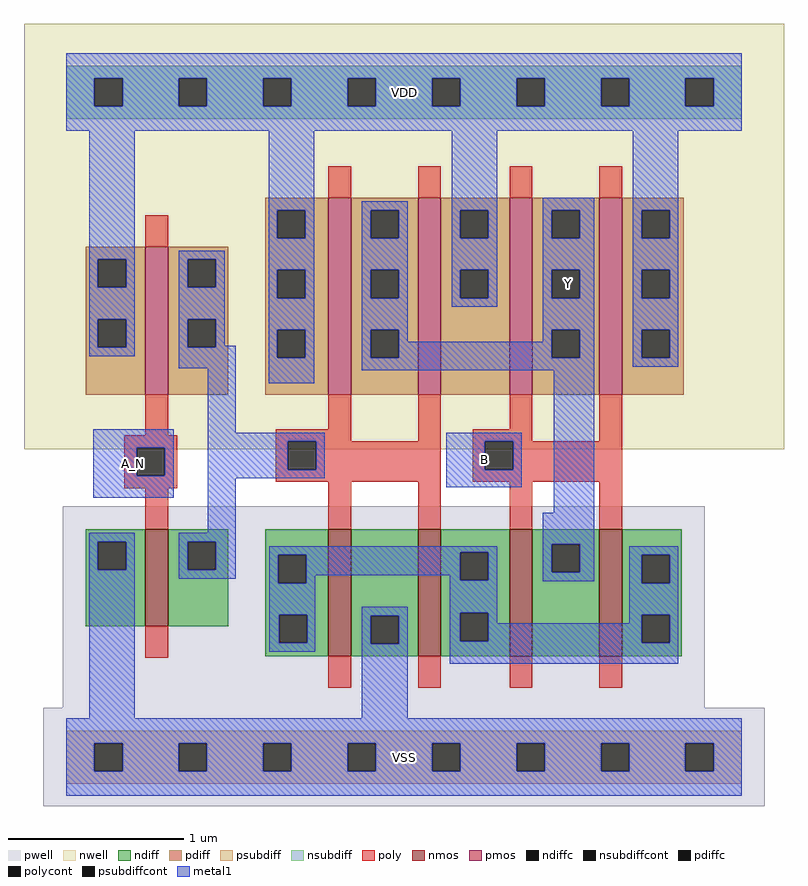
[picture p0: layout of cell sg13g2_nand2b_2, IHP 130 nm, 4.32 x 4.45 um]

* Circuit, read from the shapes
.subckt sg13g2_nand2b_2 A_N Y VDD VSS B
XM1 n1 A_N VSS VSS sg13_lv_nmos w=0.55u l=0.13u
XM2 VSS n1 n2 VSS sg13_lv_nmos w=0.72u l=0.13u m=2
XM3 Y B n2 VSS sg13_lv_nmos w=0.72u l=0.13u m=2
XM4 n1 A_N VDD VDD sg13_lv_pmos w=0.84u l=0.13u
XM5 Y n1 VDD VDD sg13_lv_pmos w=1.12u l=0.13u m=2
XM6 Y B VDD VDD sg13_lv_pmos w=1.12u l=0.13u m=2
.ends

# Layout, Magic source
magic
tech ihp-sg13g2
magscale 1 2
<< nwell >>
rect -48 350 816 834
<< pwell >>
rect -4 56 726 285
rect -26 -56 794 56
<< nmos >>
rect 90 149 116 259
rect 298 115 324 259
rect 400 115 426 259
rect 504 115 530 259
rect 606 115 632 259
<< pmos >>
rect 90 412 116 580
rect 298 412 324 636
rect 400 412 426 636
rect 504 412 530 636
rect 606 412 632 636
<< ndiff >>
rect 22 245 90 259
rect 22 213 36 245
rect 68 213 90 245
rect 22 149 90 213
rect 116 245 184 259
rect 116 213 138 245
rect 170 213 184 245
rect 116 149 184 213
rect 226 230 298 259
rect 226 198 241 230
rect 273 198 298 230
rect 226 162 298 198
rect 226 130 242 162
rect 274 130 298 162
rect 226 115 298 130
rect 324 161 400 259
rect 324 129 346 161
rect 378 129 400 161
rect 324 115 400 129
rect 426 233 504 259
rect 426 201 448 233
rect 480 201 504 233
rect 426 164 504 201
rect 426 132 448 164
rect 480 132 504 164
rect 426 115 504 132
rect 530 242 606 259
rect 530 210 552 242
rect 584 210 606 242
rect 530 115 606 210
rect 632 230 700 259
rect 632 198 654 230
rect 686 198 700 230
rect 632 162 700 198
rect 632 130 654 162
rect 686 130 700 162
rect 632 115 700 130
<< pdiff >>
rect 226 622 298 636
rect 226 590 240 622
rect 272 590 298 622
rect 22 566 90 580
rect 22 534 36 566
rect 68 534 90 566
rect 22 498 90 534
rect 22 466 36 498
rect 68 466 90 498
rect 22 412 90 466
rect 116 566 184 580
rect 116 534 138 566
rect 170 534 184 566
rect 116 498 184 534
rect 116 466 138 498
rect 170 466 184 498
rect 116 412 184 466
rect 226 554 298 590
rect 226 522 240 554
rect 272 522 298 554
rect 226 486 298 522
rect 226 454 240 486
rect 272 454 298 486
rect 226 412 298 454
rect 324 622 400 636
rect 324 590 346 622
rect 378 590 400 622
rect 324 554 400 590
rect 324 522 346 554
rect 378 522 400 554
rect 324 486 400 522
rect 324 454 346 486
rect 378 454 400 486
rect 324 412 400 454
rect 426 622 504 636
rect 426 590 448 622
rect 480 590 504 622
rect 426 554 504 590
rect 426 522 448 554
rect 480 522 504 554
rect 426 412 504 522
rect 530 622 606 636
rect 530 590 552 622
rect 584 590 606 622
rect 530 554 606 590
rect 530 522 552 554
rect 584 522 606 554
rect 530 486 606 522
rect 530 454 552 486
rect 584 454 606 486
rect 530 412 606 454
rect 632 622 702 636
rect 632 590 654 622
rect 686 590 702 622
rect 632 554 702 590
rect 632 522 654 554
rect 686 522 702 554
rect 632 486 702 522
rect 632 454 654 486
rect 686 454 702 486
rect 632 412 702 454
<< ndiffc >>
rect 36 213 68 245
rect 138 213 170 245
rect 241 198 273 230
rect 242 130 274 162
rect 346 129 378 161
rect 448 201 480 233
rect 448 132 480 164
rect 552 210 584 242
rect 654 198 686 230
rect 654 130 686 162
<< pdiffc >>
rect 240 590 272 622
rect 36 534 68 566
rect 36 466 68 498
rect 138 534 170 566
rect 138 466 170 498
rect 240 522 272 554
rect 240 454 272 486
rect 346 590 378 622
rect 346 522 378 554
rect 346 454 378 486
rect 448 590 480 622
rect 448 522 480 554
rect 552 590 584 622
rect 552 522 584 554
rect 552 454 584 486
rect 654 590 686 622
rect 654 522 686 554
rect 654 454 686 486
<< psubdiff >>
rect 0 16 768 30
rect 0 -16 32 16
rect 64 -16 128 16
rect 160 -16 224 16
rect 256 -16 320 16
rect 352 -16 416 16
rect 448 -16 512 16
rect 544 -16 608 16
rect 640 -16 704 16
rect 736 -16 768 16
rect 0 -30 768 -16
<< nsubdiff >>
rect 0 772 768 786
rect 0 740 32 772
rect 64 740 128 772
rect 160 740 224 772
rect 256 740 320 772
rect 352 740 416 772
rect 448 740 512 772
rect 544 740 608 772
rect 640 740 704 772
rect 736 740 768 772
rect 0 726 768 740
<< psubdiffcont >>
rect 32 -16 64 16
rect 128 -16 160 16
rect 224 -16 256 16
rect 320 -16 352 16
rect 416 -16 448 16
rect 512 -16 544 16
rect 608 -16 640 16
rect 704 -16 736 16
<< nsubdiffcont >>
rect 32 740 64 772
rect 128 740 160 772
rect 224 740 256 772
rect 320 740 352 772
rect 416 740 448 772
rect 512 740 544 772
rect 608 740 640 772
rect 704 740 736 772
<< poly >>
rect 298 636 324 672
rect 400 636 426 672
rect 504 636 530 672
rect 606 636 632 672
rect 90 580 116 616
rect 90 366 116 412
rect 298 373 324 412
rect 66 352 126 366
rect 66 320 80 352
rect 112 320 126 352
rect 66 306 126 320
rect 238 359 324 373
rect 400 359 426 412
rect 504 373 530 412
rect 238 327 252 359
rect 284 327 426 359
rect 238 313 426 327
rect 462 359 530 373
rect 606 359 632 412
rect 462 327 476 359
rect 508 327 632 359
rect 462 313 632 327
rect 90 259 116 306
rect 298 259 324 313
rect 400 259 426 313
rect 504 259 530 313
rect 606 259 632 313
rect 90 113 116 149
rect 298 79 324 115
rect 400 79 426 115
rect 504 79 530 115
rect 606 79 632 115
<< polycont >>
rect 80 320 112 352
rect 252 327 284 359
rect 476 327 508 359
<< metal1 >>
rect 0 772 768 800
rect 0 740 32 772
rect 64 740 128 772
rect 160 740 224 772
rect 256 740 320 772
rect 352 740 416 772
rect 448 740 512 772
rect 544 740 608 772
rect 640 740 704 772
rect 736 740 768 772
rect 0 712 768 740
rect 26 566 78 712
rect 230 622 282 712
rect 230 590 240 622
rect 272 590 282 622
rect 26 534 36 566
rect 68 534 78 566
rect 26 498 78 534
rect 26 466 36 498
rect 68 466 78 498
rect 26 456 78 466
rect 128 566 180 576
rect 128 534 138 566
rect 170 534 180 566
rect 128 498 180 534
rect 128 466 138 498
rect 170 468 180 498
rect 230 554 282 590
rect 230 522 240 554
rect 272 522 282 554
rect 230 486 282 522
rect 170 466 193 468
rect 128 442 193 466
rect 31 352 122 373
rect 31 320 80 352
rect 112 320 122 352
rect 31 295 122 320
rect 161 369 193 442
rect 230 454 240 486
rect 272 454 282 486
rect 230 425 282 454
rect 336 622 388 632
rect 336 590 346 622
rect 378 590 388 622
rect 336 554 388 590
rect 336 522 346 554
rect 378 522 388 554
rect 336 486 388 522
rect 438 622 490 712
rect 438 590 448 622
rect 480 590 490 622
rect 438 554 490 590
rect 438 522 448 554
rect 480 522 490 554
rect 438 512 490 522
rect 542 622 600 636
rect 542 590 552 622
rect 584 590 600 622
rect 542 554 600 590
rect 542 522 552 554
rect 584 522 600 554
rect 336 454 346 486
rect 378 472 388 486
rect 542 486 600 522
rect 542 472 552 486
rect 378 454 552 472
rect 584 454 600 486
rect 336 440 600 454
rect 644 622 696 712
rect 644 590 654 622
rect 686 590 696 622
rect 644 554 696 590
rect 644 522 654 554
rect 686 522 696 554
rect 644 486 696 522
rect 644 454 654 486
rect 686 454 696 486
rect 644 444 696 454
rect 161 359 294 369
rect 161 327 252 359
rect 284 327 294 359
rect 161 317 294 327
rect 432 359 518 369
rect 432 327 476 359
rect 508 327 518 359
rect 161 255 193 317
rect 432 307 518 327
rect 554 278 600 440
rect 26 245 78 255
rect 26 213 36 245
rect 68 213 78 245
rect 26 44 78 213
rect 128 245 193 255
rect 128 213 138 245
rect 170 213 193 245
rect 542 242 600 278
rect 128 203 193 213
rect 231 233 490 240
rect 231 230 448 233
rect 231 198 241 230
rect 273 207 448 230
rect 273 198 283 207
rect 231 162 283 198
rect 436 201 448 207
rect 480 201 490 233
rect 231 130 242 162
rect 274 130 283 162
rect 231 120 283 130
rect 336 161 388 171
rect 336 129 346 161
rect 378 129 388 161
rect 336 44 388 129
rect 436 164 490 201
rect 542 210 552 242
rect 584 210 600 242
rect 542 200 600 210
rect 640 230 696 240
rect 436 132 448 164
rect 480 152 490 164
rect 640 198 654 230
rect 686 198 696 230
rect 640 162 696 198
rect 640 152 654 162
rect 480 132 654 152
rect 436 130 654 132
rect 686 130 696 162
rect 436 106 696 130
rect 0 16 768 44
rect 0 -16 32 16
rect 64 -16 128 16
rect 160 -16 224 16
rect 256 -16 320 16
rect 352 -16 416 16
rect 448 -16 512 16
rect 544 -16 608 16
rect 640 -16 704 16
rect 736 -16 768 16
rect 0 -44 768 -16
<< labels >>
flabel metal1 s 31 295 122 373 0 FreeSans 400 0 0 0 A_N
port 2 nsew
flabel metal1 s 542 440 600 636 0 FreeSans 400 0 0 0 Y
port 3 nsew
flabel metal1 s 0 712 768 800 0 FreeSans 400 0 0 0 VDD
port 4 nsew
flabel metal1 s 0 -44 768 44 0 FreeSans 400 0 0 0 VSS
port 5 nsew
flabel metal1 s 432 307 518 369 0 FreeSans 400 0 0 0 B
port 6 nsew
<< properties >>
string FIXED_BBOX 0 0 768 756
string GDS_END 192274
string GDS_FILE 6_final.gds
string GDS_START 186666
<< end >>
